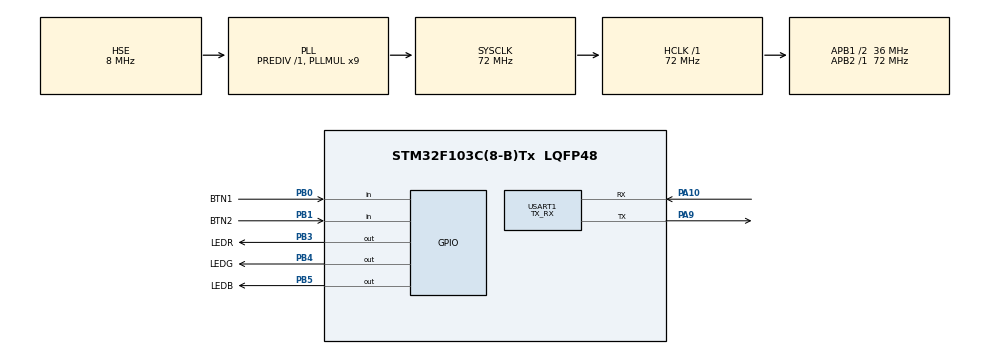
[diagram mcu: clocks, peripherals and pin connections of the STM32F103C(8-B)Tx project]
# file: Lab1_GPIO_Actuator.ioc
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Mcu.Family=STM32F1
Mcu.Name=STM32F103C(8-B)Tx
Mcu.Package=LQFP48
Mcu.UserConstants=led_TIM_counter,9
NVIC.FLASH_IRQn=true\:0\:0\:false\:false\:true\:true\:true\:true
NVIC.PriorityGroup=NVIC_PRIORITYGROUP_4
NVIC.TIM3_IRQn=true\:0\:0\:true\:false\:true\:true\:true\:true
NVIC.TIM4_IRQn=true\:0\:0\:true\:false\:true\:true\:true\:true
NVIC.USART1_IRQn=true\:0\:0\:false\:false\:true\:true\:true\:true
PA10.Mode=Asynchronous
PA10.Signal=USART1_RX
PA13.Mode=Serial_Wire
PA13.Signal=SYS_JTMS-SWDIO
PA14.Mode=Serial_Wire
PA14.Signal=SYS_JTCK-SWCLK
PA9.Mode=Asynchronous
PA9.Signal=USART1_TX
PB0.GPIO_Label=BTN1
PB0.GPIO_PuPd=GPIO_PULLUP
PB0.Signal=GPIO_Input
PB1.GPIO_Label=BTN2
PB1.GPIO_PuPd=GPIO_PULLUP
PB1.Signal=GPIO_Input
PB3.GPIO_Label=LEDR
PB3.GPIO_Speed=GPIO_SPEED_FREQ_HIGH
PB3.Signal=GPIO_Output
PB4.GPIO_Label=LEDG
PB4.GPIO_Speed=GPIO_SPEED_FREQ_HIGH
PB4.Signal=GPIO_Output
PB5.GPIO_Label=LEDB
PB5.GPIO_Speed=GPIO_SPEED_FREQ_HIGH
PB5.Signal=GPIO_Output
PD0-OSC_IN.Mode=HSE-External-Oscillator
PD0-OSC_IN.Signal=RCC_OSC_IN
PD1-OSC_OUT.Mode=HSE-External-Oscillator
PD1-OSC_OUT.Signal=RCC_OSC_OUT
ProjectManager.HeapSize=0x200
ProjectManager.StackSize=0x400
ProjectManager.TargetToolchain=STM32CubeIDE
RCC.AHBFreq_Value=72000000
RCC.APB1CLKDivider=RCC_HCLK_DIV2
RCC.APB1Freq_Value=36000000
RCC.APB1TimFreq_Value=72000000
RCC.APB2Freq_Value=72000000
RCC.APB2TimFreq_Value=72000000
RCC.HCLKFreq_Value=72000000
RCC.PLLMUL=RCC_PLL_MUL9
RCC.PLLSourceVirtual=RCC_PLLSOURCE_HSE
RCC.SYSCLKFreq_VALUE=72000000
RCC.SYSCLKSource=RCC_SYSCLKSOURCE_PLLCLK
RCC.USBFreq_Value=72000000
TIM3.AutoReloadPreload=TIM_AUTORELOAD_PRELOAD_ENABLE
TIM3.Period=led_TIM_counter
TIM3.Prescaler=3599
TIM4.AutoReloadPreload=TIM_AUTORELOAD_PRELOAD_ENABLE
TIM4.Period=led_TIM_counter
TIM4.Prescaler=3599
USART1.Mode=MODE_TX_RX
USART1.VirtualMode=VM_ASYNC
VP_TIM3_VS_ClockSourceINT.Mode=Internal
VP_TIM4_VS_ClockSourceINT.Mode=Internal
board=custom

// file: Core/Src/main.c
/* USER CODE BEGIN Header */
/**
  ******************************************************************************
  * @file           : main.c
  * @brief          : Main program body
  ******************************************************************************
  * @attention
  *
  * Copyright (c) 2023 STMicroelectronics.
  * All rights reserved.
  *
  * This software is licensed under terms that can be found in the LICENSE file
  * in the root directory of this software component.
  * If no LICENSE file comes with this software, it is provided AS-IS.
  *
  ******************************************************************************
  */
/* USER CODE END Header */
#include "main.h"

/* USER CODE BEGIN Includes */
#include "stdio.h"
//---- Thu vien nut nhan - Author Hoa ----
//#include "button.h"
/* USER CODE END Includes */

/* USER CODE BEGIN PD */
//khai bao trang thai hieu ung led
typedef enum
{
	LED_BLINK_ORIGIN,
	LED_BLINK_SEQ,
	LED_BLINK_ALTER,
} Led_Effect_Status;
/* USER CODE END PD */

TIM_HandleTypeDef htim3;
TIM_HandleTypeDef htim4;

UART_HandleTypeDef huart1;

/* USER CODE BEGIN PV */

//khai bao bien luu trang thai den
Led_Effect_Status led_eff_state;

//----- UART com debug variable -----
uint8_t Tx_Buffer[100]; //buffer truyen di chua gia tri chu ky hien tai cua LED + che do hien tai cua mode led effect
//---- led_time_cycle [min:max] variable + divine time (pwm)----
uint16_t max_cycle_led_time = 2000, min_cycle_led_time = 0;
uint16_t divine_time_val = 0; //bien dung de luu gia tri chia deu thoi gian hieu ung led (bam xung - pwm thu cong)
//---- led_time_cycle [min:max] variable ----

//---- Led counter effect variable -----
uint8_t count_led_alt = 0, count_led_seq = 0, count_led_blink = 0;
//---- Led counter effect variable -----

//---- button handle variable ----
uint8_t button1_current = 1; //trang thai hien tai cua nut bam, khoi tao la 1 de tranh dieu kien ban da
uint8_t button1_last = 1; //trang thai cuoi cua nut bam
uint8_t button1_filter = 1;

uint8_t is_debouncing1; //biet nhan biet nut dang rung do thay doi trang thai
uint32_t time_debounce1; //lay thoi gian thay doi trang thai
uint32_t time_btn_press1; //luu thoi gian ke tu luc nhan nut
uint8_t is_press_timeout1,is_long_press1;

uint8_t button2_current = 1; //trang thai hien tai cua nut bam, khoi tao la 1 de tranh dieu kien ban da
uint8_t button2_last = 1; //trang thai cuoi cua nut bam
uint8_t button2_filter = 1;

uint8_t is_debouncing2; //biet nhan biet nut dang rung do thay doi trang thai
uint32_t time_debounce2; //lay thoi gian thay doi trang thai
uint32_t time_btn_press2; //luu thoi gian ke tu luc nhan nut
uint8_t is_press_timeout2, is_long_press2;

uint8_t cycle_change_mode = 0; //mode = 0: dec mode = 1 inc

//----timer count ----
uint16_t is_press_time_count = 0; //button press timer count (for longpress support purpose)
uint16_t led_timer_cnt = 0;		//timer count for led trasition time

//--------------------
//test_var
int test;
/* USER CODE END PV */

void SystemClock_Config(void);
static void MX_GPIO_Init(void);
static void MX_USART1_UART_Init(void);
static void MX_TIM3_Init(void);
static void MX_TIM4_Init(void);
/* USER CODE BEGIN PFP */
void led_blink_origin(void); //effect 1
void led_blink_sequence(void); //effect 2
void led_blink_alternate(void); //effect 3

void button1_hanlde(void);
void button2_handle(void);

void button_pressing_callback(void);
void button_release_callback(void);

void button1_shortpressing_callback_500ms(void); //button1 < 500ms handle fnct
void button1_longpressing_callback_500ms(void); ////button1 > 500ms handle fnct

void button2_shortpressing_callback_500ms(void); //button2 < 500ms handle fnct
void button2_longpressing_callback_500ms(void); ////button2 > 500ms handle fnct

void time_cycle_inc_callback(void);
void time_cycle_dec_callback(void);
/* USER CODE END PFP */

/* USER CODE BEGIN 0 */

void button1_handle(void)
{
	//-------- Xu ly loc nhieu ------
	//dung timer systick phuc vu loc nhieu
	//giai thuat kieu:
	//1. phat hien thay doi trang thai
	//2. cu co nhieu, reset time_debounce
	uint8_t sta1 = HAL_GPIO_ReadPin(GPIOB, GPIO_PIN_0); //BTN1
	//KIT truong button1 hardware hong - SSID: ESP32_S2
	//cu co nhieu gan lai button filter
	if(sta1 != button1_filter) //trang thai doc duoc, khac voi trang thai truoc (button_filter)
	{
		//co su thay doi trang thai thi se vao day gan lien tuc vao button filter
		button1_filter = sta1;
		is_debouncing1 = 1;
		time_debounce1 = HAL_GetTick(); //moi lan co xung nhieu time debounce duoc cap nhat lai
	}
	//-------- Xac lap tin hieu ------
	if(is_debouncing1 == 1 && (HAL_GetTick()-time_debounce1 >= 15)) //check nhieu (standard vong check nhieu = 15ms) - callib
	{
		button1_current = button1_filter;
		is_debouncing1 = 0;
	}
	//-------- Xu ly nut nhan --------
	if(button1_current != button1_last)
	{
		if(button1_current == 0) //truong hop dang nhan nut
		{
			//button_pressing_callback();
			is_press_timeout1 = 1;
			time_btn_press1 = HAL_GetTick();
		} else { //nha nut
			//tuc la khoang thoi gian ke tu luc nhan cho den luc nha ra < 500ms
			if(HAL_GetTick() - time_btn_press1 < 500)
			{
				button1_shortpressing_callback_500ms();
				is_press_timeout1 = 0;
			}
			is_long_press1 = 0;
			//button_release_callback();
		}
		button1_last = button1_current; //muc dich neu trang thai nut bam sau khi xac lap khac trang thai truoc thi xu ly callback
	}
	if(is_press_timeout1 == 1 && (HAL_GetTick() - time_btn_press1 >= 500))
	{
		button1_longpressing_callback_500ms();
	}
}

void button2_handle(void)
{
	//-------- Xu ly loc nhieu ------
	//dung timer systick phuc vu loc nhieu
	//giai thuat kieu:
	//1. phat hien thay doi trang thai
	//2. cu co nhieu, reset time_debounce
	uint8_t sta2 = HAL_GPIO_ReadPin(GPIOB, GPIO_PIN_1); //BTN2
	//cu co nhieu gan lai button filter
	if(sta2 != button2_filter) //trang thai doc duoc, khac voi trang thai truoc (button_filter)
	{
		//co su thay doi trang thai thi se vao day gan lien tuc vao button filter
		button2_filter = sta2;
		is_debouncing2 = 1;
		time_debounce2 = HAL_GetTick(); //moi lan co xung nhieu time debounce duoc cap nhat lai
	}
	//-------- Xac lap tin hieu ------
	if(is_debouncing2 == 1 && (HAL_GetTick()-time_debounce2 >= 15)) //check nhieu (standard vong check nhieu = 15ms) - callib
	{
		button2_current = button2_filter;
		is_debouncing2 = 0;
	}
	//-------- Xu ly nut nhan --------
	if(button2_current != button2_last)
	{
		if(button2_current == 0) //truong hop dang nhan nut
		{
			//button_pressing_callback();
			is_press_timeout2 = 1;
			time_btn_press2 = HAL_GetTick();
		} else { //nha nut
			//tuc la khoang thoi gian ke tu luc nhan cho den luc nha ra < 500ms
			if(HAL_GetTick() - time_btn_press2 < 500)
			{
				button2_shortpressing_callback_500ms();
				is_press_timeout2 = 0;
			}
			is_long_press2 = 0;
			//button_release_callback();
		}
		button2_last = button2_current; //muc dich neu trang thai nut bam sau khi xac lap khac trang thai truoc thi xu ly callback
	}
	if(is_press_timeout2 == 1 && (HAL_GetTick() - time_btn_press2 >= 500))
	{
		button2_longpressing_callback_500ms();
	}
}

void button_pressing_callback(void)
{
	test = 2;
	//time_cycle_dec_callback();
}

void button_release_callback(void)
{
	test = 4;
}

void button1_shortpressing_callback_500ms(void)
{
	time_cycle_dec_callback();
}

void button2_shortpressing_callback_500ms(void)
{
	switch(led_eff_state)
	{
		case LED_BLINK_ORIGIN:
				led_eff_state = LED_BLINK_SEQ;
		break;
		case LED_BLINK_SEQ:
			led_eff_state = LED_BLINK_ALTER;
		break;
		case LED_BLINK_ALTER:
			led_eff_state = LED_BLINK_ORIGIN;
		break;
	}
}

void button1_longpressing_callback_500ms(void)
{
	cycle_change_mode = 0;
	is_long_press1 = 1;
	is_press_timeout1 = 0;
}

void button2_longpressing_callback_500ms(void)
{
	cycle_change_mode = 1;
	is_long_press2 = 1;
	is_press_timeout2 = 0;
}

void time_cycle_inc_callback(void)
{
	if(max_cycle_led_time == 2000)
	{
		max_cycle_led_time = 0;
	}
	max_cycle_led_time += 100;
}

void time_cycle_dec_callback(void)
{
	if(max_cycle_led_time == 0)
	{
		max_cycle_led_time = 2000;
	}
	max_cycle_led_time -= 100;
}

void led_blink_origin(void)
{
	if(count_led_blink == 0){
		HAL_GPIO_WritePin(GPIOB, GPIO_PIN_3, GPIO_PIN_SET);
		HAL_GPIO_WritePin(GPIOB, GPIO_PIN_4, GPIO_PIN_SET);
		HAL_GPIO_WritePin(GPIOB, GPIO_PIN_5, GPIO_PIN_SET);
		count_led_blink = 1;
	} else if (count_led_blink == 1){
		HAL_GPIO_WritePin(GPIOB, GPIO_PIN_3, GPIO_PIN_RESET);
		HAL_GPIO_WritePin(GPIOB, GPIO_PIN_4, GPIO_PIN_RESET);
		HAL_GPIO_WritePin(GPIOB, GPIO_PIN_5, GPIO_PIN_RESET);
		count_led_blink = 0;
	}
}

void led_blink_sequence(void)
{
	if(count_led_seq == 0)
	{
		HAL_GPIO_WritePin(GPIOB, GPIO_PIN_3, GPIO_PIN_SET);
		HAL_GPIO_WritePin(GPIOB, GPIO_PIN_4, GPIO_PIN_SET);
		HAL_GPIO_WritePin(GPIOB, GPIO_PIN_5, GPIO_PIN_SET);
		count_led_seq = 1;
	} else if(count_led_seq == 1)
	{
		HAL_GPIO_WritePin(GPIOB, GPIO_PIN_3, GPIO_PIN_RESET);
		HAL_GPIO_WritePin(GPIOB, GPIO_PIN_4, GPIO_PIN_SET);
		HAL_GPIO_WritePin(GPIOB, GPIO_PIN_5, GPIO_PIN_SET);
		count_led_seq = 2;
	} else if (count_led_seq == 2)
	{
		HAL_GPIO_WritePin(GPIOB, GPIO_PIN_3, GPIO_PIN_RESET);
		HAL_GPIO_WritePin(GPIOB, GPIO_PIN_4, GPIO_PIN_RESET);
		HAL_GPIO_WritePin(GPIOB, GPIO_PIN_5, GPIO_PIN_SET);
		count_led_seq = 3;
	} else if (count_led_seq == 3)
	{
		HAL_GPIO_WritePin(GPIOB, GPIO_PIN_3, GPIO_PIN_RESET);
		HAL_GPIO_WritePin(GPIOB, GPIO_PIN_4, GPIO_PIN_RESET);
		HAL_GPIO_WritePin(GPIOB, GPIO_PIN_5, GPIO_PIN_RESET);
		count_led_seq = 0;
	}
}

void led_blink_alternate(void)
{
	if(count_led_alt == 0)
	{
		HAL_GPIO_WritePin(GPIOB, GPIO_PIN_3,GPIO_PIN_SET); //off
		HAL_GPIO_WritePin(GPIOB, GPIO_PIN_4,GPIO_PIN_RESET); //on
		HAL_GPIO_WritePin(GPIOB, GPIO_PIN_5,GPIO_PIN_SET); //off
		count_led_alt = 1;
	} else if (count_led_alt == 1)
	{
		HAL_GPIO_WritePin(GPIOB, GPIO_PIN_3,GPIO_PIN_RESET); //on
		HAL_GPIO_WritePin(GPIOB, GPIO_PIN_4,GPIO_PIN_SET); //off
		HAL_GPIO_WritePin(GPIOB, GPIO_PIN_5,GPIO_PIN_RESET); //on
		count_led_alt = 0;
	}
}

/* USER CODE END 0 */

int main(void)
{

  /* MCU Configuration--------------------------------------------------------*/

  /* Reset of all peripherals, Initializes the Flash interface and the Systick. */
  HAL_Init();

  /* USER CODE BEGIN Init */
  led_eff_state = LED_BLINK_ORIGIN; //ke tu luc chuong trinh bat dau se vao hieu ung blink led
  /* USER CODE END Init */

  /* Configure the system clock */
  SystemClock_Config();

  /* Initialize all configured peripherals */
  MX_GPIO_Init();
  MX_USART1_UART_Init();
  MX_TIM3_Init();
  MX_TIM4_Init();
  /* USER CODE BEGIN 2 */
  HAL_TIM_Base_Start_IT(&htim3);
  HAL_TIM_Base_Start_IT(&htim4);

  /* USER CODE END 2 */

  /* Infinite loop */
  /* USER CODE BEGIN WHILE */
  while (1)
  {
	//----- Phan code test debug UART gui den man hinh OLED ----
	//clear buffer string before write below:
	//-- code
	sprintf((char*)Tx_Buffer,"\nCYCLE:%u\nMODE:%u",max_cycle_led_time,led_eff_state);
	HAL_UART_Transmit(&huart1,Tx_Buffer,sizeof(Tx_Buffer), 10);
	//----- Phan code test debug UART gui den man hinh OLED -----
	button1_handle();
	button2_handle();

	HAL_Delay(100);
    /* USER CODE END WHILE */

  }
}

void SystemClock_Config(void)
{
  RCC_OscInitTypeDef RCC_OscInitStruct = {0};
  RCC_ClkInitTypeDef RCC_ClkInitStruct = {0};

  /** Initializes the RCC Oscillators according to the specified parameters
  * in the RCC_OscInitTypeDef structure.
  */
  RCC_OscInitStruct.OscillatorType = RCC_OSCILLATORTYPE_HSE;
  RCC_OscInitStruct.HSEState = RCC_HSE_ON;
  RCC_OscInitStruct.HSEPredivValue = RCC_HSE_PREDIV_DIV1;
  RCC_OscInitStruct.HSIState = RCC_HSI_ON;
  RCC_OscInitStruct.PLL.PLLState = RCC_PLL_ON;
  RCC_OscInitStruct.PLL.PLLSource = RCC_PLLSOURCE_HSE;
  RCC_OscInitStruct.PLL.PLLMUL = RCC_PLL_MUL9;
  if (HAL_RCC_OscConfig(&RCC_OscInitStruct) != HAL_OK)
  {
    Error_Handler();
  }

  /** Initializes the CPU, AHB and APB buses clocks
  */
  RCC_ClkInitStruct.ClockType = RCC_CLOCKTYPE_HCLK|RCC_CLOCKTYPE_SYSCLK
                              |RCC_CLOCKTYPE_PCLK1|RCC_CLOCKTYPE_PCLK2;
  RCC_ClkInitStruct.SYSCLKSource = RCC_SYSCLKSOURCE_PLLCLK;
  RCC_ClkInitStruct.AHBCLKDivider = RCC_SYSCLK_DIV1;
  RCC_ClkInitStruct.APB1CLKDivider = RCC_HCLK_DIV2;
  RCC_ClkInitStruct.APB2CLKDivider = RCC_HCLK_DIV1;

  if (HAL_RCC_ClockConfig(&RCC_ClkInitStruct, FLASH_LATENCY_2) != HAL_OK)
  {
    Error_Handler();
  }
}

static void MX_TIM3_Init(void)
{

  TIM_ClockConfigTypeDef sClockSourceConfig = {0};
  TIM_MasterConfigTypeDef sMasterConfig = {0};

  htim3.Instance = TIM3;
  htim3.Init.Prescaler = 3599;
  htim3.Init.CounterMode = TIM_COUNTERMODE_UP;
  htim3.Init.Period = led_TIM_counter;
  htim3.Init.ClockDivision = TIM_CLOCKDIVISION_DIV1;
  htim3.Init.AutoReloadPreload = TIM_AUTORELOAD_PRELOAD_ENABLE;
  if (HAL_TIM_Base_Init(&htim3) != HAL_OK)
  {
    Error_Handler();
  }
  sClockSourceConfig.ClockSource = TIM_CLOCKSOURCE_INTERNAL;
  if (HAL_TIM_ConfigClockSource(&htim3, &sClockSourceConfig) != HAL_OK)
  {
    Error_Handler();
  }
  sMasterConfig.MasterOutputTrigger = TIM_TRGO_RESET;
  sMasterConfig.MasterSlaveMode = TIM_MASTERSLAVEMODE_DISABLE;
  if (HAL_TIMEx_MasterConfigSynchronization(&htim3, &sMasterConfig) != HAL_OK)
  {
    Error_Handler();
  }

}

static void MX_TIM4_Init(void)
{

  TIM_ClockConfigTypeDef sClockSourceConfig = {0};
  TIM_MasterConfigTypeDef sMasterConfig = {0};

  htim4.Instance = TIM4;
  htim4.Init.Prescaler = 3599;
  htim4.Init.CounterMode = TIM_COUNTERMODE_UP;
  htim4.Init.Period = led_TIM_counter;
  htim4.Init.ClockDivision = TIM_CLOCKDIVISION_DIV1;
  htim4.Init.AutoReloadPreload = TIM_AUTORELOAD_PRELOAD_ENABLE;
  if (HAL_TIM_Base_Init(&htim4) != HAL_OK)
  {
    Error_Handler();
  }
  sClockSourceConfig.ClockSource = TIM_CLOCKSOURCE_INTERNAL;
  if (HAL_TIM_ConfigClockSource(&htim4, &sClockSourceConfig) != HAL_OK)
  {
    Error_Handler();
  }
  sMasterConfig.MasterOutputTrigger = TIM_TRGO_RESET;
  sMasterConfig.MasterSlaveMode = TIM_MASTERSLAVEMODE_DISABLE;
  if (HAL_TIMEx_MasterConfigSynchronization(&htim4, &sMasterConfig) != HAL_OK)
  {
    Error_Handler();
  }

}

static void MX_USART1_UART_Init(void)
{

  huart1.Instance = USART1;
  huart1.Init.BaudRate = 115200;
  huart1.Init.WordLength = UART_WORDLENGTH_8B;
  huart1.Init.StopBits = UART_STOPBITS_1;
  huart1.Init.Parity = UART_PARITY_NONE;
  huart1.Init.Mode = UART_MODE_TX_RX;
  huart1.Init.HwFlowCtl = UART_HWCONTROL_NONE;
  huart1.Init.OverSampling = UART_OVERSAMPLING_16;
  if (HAL_UART_Init(&huart1) != HAL_OK)
  {
    Error_Handler();
  }

}

static void MX_GPIO_Init(void)
{
  GPIO_InitTypeDef GPIO_InitStruct = {0};

  /* GPIO Ports Clock Enable */
  __HAL_RCC_GPIOD_CLK_ENABLE();
  __HAL_RCC_GPIOB_CLK_ENABLE();
  __HAL_RCC_GPIOA_CLK_ENABLE();

  /*Configure GPIO pin Output Level */
  HAL_GPIO_WritePin(GPIOB, LEDR_Pin|LEDG_Pin|LEDB_Pin, GPIO_PIN_RESET);

  /*Configure GPIO pins : BTN1_Pin BTN2_Pin */
  GPIO_InitStruct.Pin = BTN1_Pin|BTN2_Pin;
  GPIO_InitStruct.Mode = GPIO_MODE_INPUT;
  GPIO_InitStruct.Pull = GPIO_PULLUP;
  HAL_GPIO_Init(GPIOB, &GPIO_InitStruct);

  /*Configure GPIO pins : LEDR_Pin LEDG_Pin LEDB_Pin */
  GPIO_InitStruct.Pin = LEDR_Pin|LEDG_Pin|LEDB_Pin;
  GPIO_InitStruct.Mode = GPIO_MODE_OUTPUT_PP;
  GPIO_InitStruct.Pull = GPIO_NOPULL;
  GPIO_InitStruct.Speed = GPIO_SPEED_FREQ_HIGH;
  HAL_GPIO_Init(GPIOB, &GPIO_InitStruct);

}

/* USER CODE BEGIN 4 */
void HAL_TIM_PeriodElapsedCallback(TIM_HandleTypeDef *htim) //!WARNING: Don't change
{
	if(htim == &htim3) //behavior led function timer
	{
		if(led_timer_cnt > max_cycle_led_time)
		{
			led_timer_cnt = 0; //reset timer when timer over counter value
		} //handle for overflow timer case - temporary solution
		else {
			led_timer_cnt++;
			if(max_cycle_led_time > 0)
			{
				switch(led_eff_state)
				{
					case LED_BLINK_ORIGIN:
					{
						divine_time_val = max_cycle_led_time / 2;
						if(led_timer_cnt == divine_time_val){
							led_blink_origin();
							led_timer_cnt = 0;
						}
					break;
					}
					case LED_BLINK_SEQ:
					{
						divine_time_val = max_cycle_led_time / 4;
						if(led_timer_cnt == divine_time_val){
							led_blink_sequence();
							led_timer_cnt = 0;
						}
						break;
					}
					case LED_BLINK_ALTER:
					{
						divine_time_val = max_cycle_led_time / 2;
						if(led_timer_cnt == divine_time_val){
							led_blink_alternate();
							led_timer_cnt = 0;
						}
						break;
					}
					default:
						break;
				}
			} else if(max_cycle_led_time == 0)
			{
				max_cycle_led_time = 2000; //neu chu ky bi nut bam tuong tac giam ve 0 thi reset lai thoi gian chu ky
			}
		}
	}
	if(htim == &htim4 && (is_long_press1==1 || is_long_press2==1))
	{
		//is_press_time_count++;
		if(is_press_time_count++ == 200)
		{
			is_press_time_count = 0;
			if(cycle_change_mode == 0) {
				time_cycle_dec_callback();
			} else if(cycle_change_mode == 1){
				time_cycle_inc_callback();
			}
		}
	}
}

/* USER CODE END 4 */

void Error_Handler(void)
{
  __disable_irq();
  while (1)
  {
  }
}
